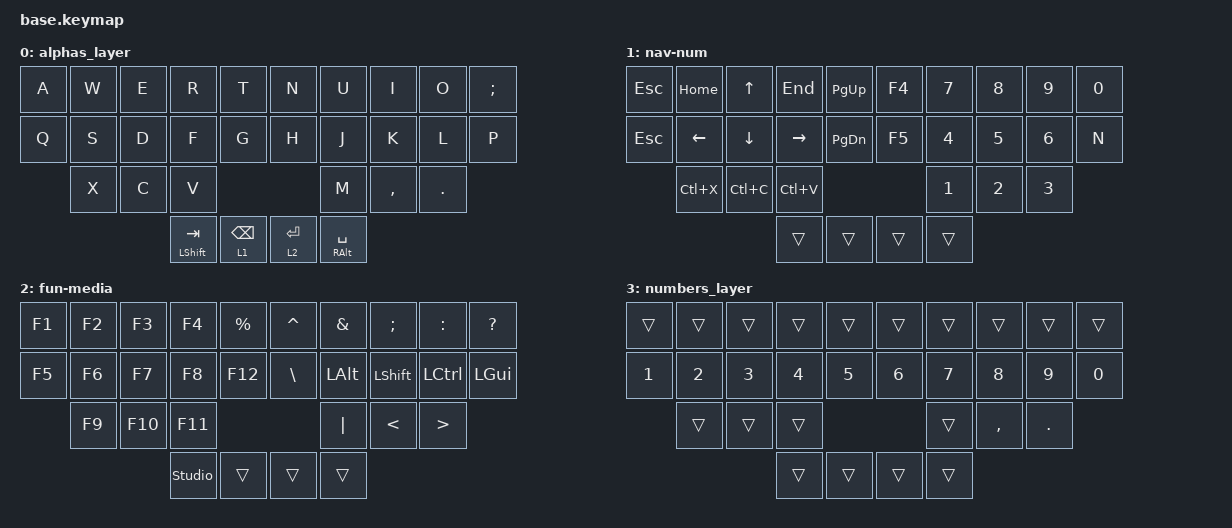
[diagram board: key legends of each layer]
#include <behaviors.dtsi>
#include <dt-bindings/zmk/keys.h>

/* Layers */

#define ALPHAS 0
#define EDIT 1
#define SYMBOLS 2
#define NUMBERS 3

/* Mod Sequence (Outer to Inner) */

#define M0 LGUI
#define M1 LCTRL
#define M2 LSHFT
#define M3 LALT

/* Shortcuts */

#define CUT LC(X)
#define COPY LC(C)
#define PASTE LC(V)
#define UNDO LC(Z)
#define ALL LC(A)
#define TOP LC(HOME)
#define BOTTOM LC(END)

/ {
    behaviors {
        home: home_ignoring_ctrl {
            compatible = "zmk,behavior-mod-morph";
            #binding-cells = <0>;
            bindings = <&kp HOME>, <&kp HOME>;

            mods = <(MOD_LCTL|MOD_RCTL)>;
        };

        end: end_ignoring_ctrl {
            compatible = "zmk,behavior-mod-morph";
            #binding-cells = <0>;
            bindings = <&kp END>, <&kp END>;

            mods = <(MOD_LCTL|MOD_RCTL)>;
        };

        bspc: backspace_delete {
            compatible = "zmk,behavior-mod-morph";
            #binding-cells = <0>;
            bindings = <&kp BSPC>, <&kp DEL>;

            mods = <(MOD_LSFT|MOD_RSFT)>;
        };

        plus: plus_zoom {
            compatible = "zmk,behavior-mod-morph";
            #binding-cells = <0>;
            bindings = <&kp PLUS>, <&kp LC(EQUAL)>;

            mods = <(MOD_LCTL|MOD_RCTL)>;
        };
    };

    conditional_layers {
        compatible = "zmk,conditional-layers";

        tri_layer {
            if-layers = <EDIT SYMBOLS>;
            then-layer = <NUMBERS>;
        };
    };

    combos {
        compatible = "zmk,combos";

        /*                 Key Positions
             0   1   2   3   4      5   6   7   8   9
            10  11  12  13  14     15  16  17  18  19
                20  21  22             23  24  25
                        26  27     28  29              */

        z {
            key-positions = <20 21>;
            bindings = <&kp Z>;
            layers = <ALPHAS>;
        };

        b {
            key-positions = <21 22>;
            bindings = <&kp B>;
            layers = <ALPHAS>;
        };

        y {
            bindings = <&kp Y>;
            key-positions = <23 24>;
        };

        slash {
            bindings = <&kp SLASH>;
            key-positions = <24 25>;
        };
    };

    keymap {
        compatible = "zmk,keymap";

        alphas_layer {
            bindings = <
&kp A  &kp W  &kp E  &kp R               &kp T              &kp N         &kp U                &kp I      &kp O    &kp SEMI
&kp Q  &kp S  &kp D  &kp F               &kp G              &kp H         &kp J                &kp K      &kp L    &kp P
       &kp X  &kp C  &kp V                                                &kp M                &kp COMMA  &kp DOT
                     &mt LEFT_SHIFT TAB  &lt 1 BACKSPACE    &lt 2 RETURN  &mt RIGHT_ALT SPACE
            >;
        };

        nav-num {
            bindings = <
&kp ESCAPE  &kp HOME        &kp UP_ARROW    &kp END          &kp PAGE_UP      &kp F4  &kp N7        &kp N8        &kp N9  &kp N0
&kp ESCAPE  &kp LEFT_ARROW  &kp DOWN_ARROW  &kp RIGHT_ARROW  &kp PAGE_DOWN    &kp F5  &kp N4        &kp N5        &kp N6  &kp N
            &kp CUT         &kp COPY        &kp PASTE                                 &kp NUMBER_1  &kp NUMBER_2  &kp N3
                                            &trans           &trans           &trans  &trans
            >;
        };

        fun-media {
            bindings = <
&kp F1  &kp F2  &kp F3   &kp F4          &kp PRCNT    &kp CARET  &kp AMPS  &kp SEMI  &kp COLON  &kp QMARK
&kp F5  &kp F6  &kp F7   &kp F8          &kp F12      &kp BSLH   &kp M3    &kp M2    &kp M1     &kp M0
        &kp F9  &kp F10  &kp F11                                 &kp PIPE  &kp LT    &kp GT
                         &studio_unlock  &trans       &trans     &trans
            >;
        };

        numbers_layer {
            bindings = <
&trans  &trans  &trans  &trans  &trans    &trans  &trans  &trans     &trans   &trans
&kp N1  &kp N2  &kp N3  &kp N4  &kp N5    &kp N6  &kp N7  &kp N8     &kp N9   &kp N0
        &trans  &trans  &trans                    &trans  &kp COMMA  &kp DOT
                        &trans  &trans    &trans  &trans
            >;
        };
    };
};
